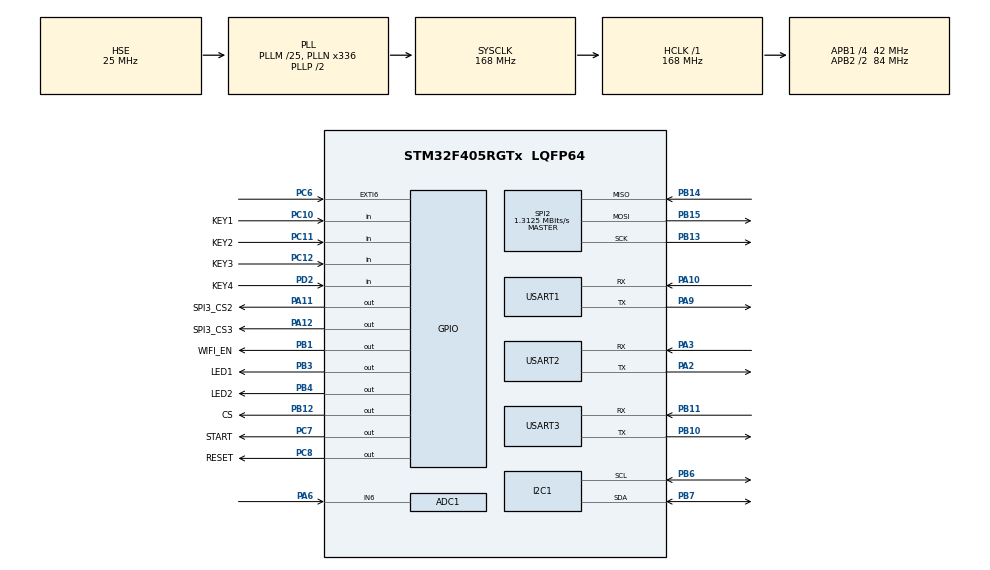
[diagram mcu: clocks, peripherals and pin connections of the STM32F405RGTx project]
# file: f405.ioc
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ADC1.Channel-0\#ChannelRegularConversion=ADC_CHANNEL_6
ADC1.NbrOfConversionFlag=1
ADC1.Rank-0\#ChannelRegularConversion=1
ADC1.SamplingTime-0\#ChannelRegularConversion=ADC_SAMPLETIME_3CYCLES
ADC1.master=1
FREERTOS.Tasks01=defaultTask,0,128,StartDefaultTask,Default,NULL,Dynamic,NULL,NULL;wifi,0,1024,wifiTask,Default,NULL,Dynamic,NULL,NULL;ads1299,3,1024,ads1299Task,Default,NULL,Dynamic,NULL,NULL;processTask,-3,1024,processDataTask,Default,NULL,Dynamic,NULL,NULL;led,-3,128,ledTask,Default,NULL,Dynamic,NULL,NULL
Mcu.Family=STM32F4
Mcu.Name=STM32F405RGTx
Mcu.Package=LQFP64
NVIC.EXTI9_5_IRQn=true\:5\:0\:false\:false\:true\:true\:true\:true\:true
NVIC.PriorityGroup=NVIC_PRIORITYGROUP_4
NVIC.TIM8_TRG_COM_TIM14_IRQn=true\:15\:0\:false\:false\:true\:false\:false\:true\:true
NVIC.TimeBase=TIM8_TRG_COM_TIM14_IRQn
NVIC.TimeBaseIP=TIM14
NVIC.USART3_IRQn=true\:5\:0\:false\:false\:true\:true\:true\:true\:true
PA10.Mode=Asynchronous
PA10.Signal=USART1_RX
PA11.GPIO_Label=SPI3_CS2
PA11.Signal=GPIO_Output
PA12.GPIO_Label=SPI3_CS3
PA12.Signal=GPIO_Output
PA13.Mode=Serial_Wire
PA13.Signal=SYS_JTMS-SWDIO
PA14.Mode=Serial_Wire
PA14.Signal=SYS_JTCK-SWCLK
PA2.Mode=Asynchronous
PA2.Signal=USART2_TX
PA3.Mode=Asynchronous
PA3.Signal=USART2_RX
PA6.Signal=ADCx_IN6
PA9.Mode=Asynchronous
PA9.Signal=USART1_TX
PB1.GPIO_Label=WIFI_EN
PB1.PinState=GPIO_PIN_SET
PB1.Signal=GPIO_Output
PB10.Mode=Asynchronous
PB10.Signal=USART3_TX
PB11.Mode=Asynchronous
PB11.Signal=USART3_RX
PB12.GPIO_Label=CS
PB12.Signal=GPIO_Output
PB13.Mode=Full_Duplex_Master
PB13.Signal=SPI2_SCK
PB14.Mode=Full_Duplex_Master
PB14.Signal=SPI2_MISO
PB15.Mode=Full_Duplex_Master
PB15.Signal=SPI2_MOSI
PB3.GPIO_Label=LED1
PB3.Signal=GPIO_Output
PB4.GPIO_Label=LED2
PB4.PinState=GPIO_PIN_SET
PB4.Signal=GPIO_Output
PB6.Mode=I2C
PB6.Signal=I2C1_SCL
PB7.Mode=I2C
PB7.Signal=I2C1_SDA
PC10.GPIO_Label=KEY1
PC10.GPIO_PuPd=GPIO_NOPULL
PC10.Signal=GPIO_Input
PC11.GPIO_Label=KEY2
PC11.Signal=GPIO_Input
PC12.GPIO_Label=KEY3
PC12.Signal=GPIO_Input
PC6.GPIO_ModeDefaultEXTI=GPIO_MODE_IT_FALLING
PC6.Signal=GPXTI6
PC7.GPIO_Label=START
PC7.Signal=GPIO_Output
PC8.GPIO_Label=RESET
PC8.Signal=GPIO_Output
PD2.GPIO_Label=KEY4
PD2.Signal=GPIO_Input
PH0-OSC_IN.Mode=HSE-External-Oscillator
PH0-OSC_IN.Signal=RCC_OSC_IN
PH1-OSC_OUT.Mode=HSE-External-Oscillator
PH1-OSC_OUT.Signal=RCC_OSC_OUT
ProjectManager.HeapSize=0x400
ProjectManager.StackSize=0x400
ProjectManager.TargetToolchain=MDK-ARM V5.32
RCC.48MHZClocksFreq_Value=84000000
RCC.AHBFreq_Value=168000000
RCC.APB1CLKDivider=RCC_HCLK_DIV4
RCC.APB1Freq_Value=42000000
RCC.APB1TimFreq_Value=84000000
RCC.APB2CLKDivider=RCC_HCLK_DIV2
RCC.APB2Freq_Value=84000000
RCC.APB2TimFreq_Value=168000000
RCC.CortexFreq_Value=168000000
RCC.HCLKFreq_Value=168000000
RCC.HSE_VALUE=25000000
RCC.HSI_VALUE=16000000
RCC.LSE_VALUE=32768
RCC.PLLM=25
RCC.PLLN=336
RCC.PLLSourceVirtual=RCC_PLLSOURCE_HSE
RCC.SYSCLKFreq_VALUE=168000000
RCC.SYSCLKSource=RCC_SYSCLKSOURCE_PLLCLK
RCC.VCOOutputFreq_Value=336000000
SH.ADCx_IN6.0=ADC1_IN6,IN6
SPI2.BaudRatePrescaler=SPI_BAUDRATEPRESCALER_32
SPI2.CLKPhase=SPI_PHASE_2EDGE
SPI2.CalculateBaudRate=1.3125 MBits/s
SPI2.Direction=SPI_DIRECTION_2LINES
SPI2.Mode=SPI_MODE_MASTER
SPI2.VirtualType=VM_MASTER
USART1.VirtualMode=VM_ASYNC
USART2.VirtualMode=VM_ASYNC
USART3.VirtualMode=VM_ASYNC
VP_FREERTOS_VS_CMSIS_V1.Mode=CMSIS_V1
VP_SYS_VS_tim14.Mode=TIM14
board=custom

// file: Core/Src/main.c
/* USER CODE BEGIN Header */
/**
  ******************************************************************************
  * @file           : main.c
  * @brief          : Main program body
  ******************************************************************************
  * @attention
  *
  * Copyright (c) 2025 STMicroelectronics.
  * All rights reserved.
  *
  * This software is licensed under terms that can be found in the LICENSE file
  * in the root directory of this software component.
  * If no LICENSE file comes with this software, it is provided AS-IS.
  *
  ******************************************************************************
  */
/* USER CODE END Header */
#include "main.h"
#include "cmsis_os.h"
#include "adc.h"
#include "i2c.h"
#include "spi.h"
#include "usart.h"
#include "gpio.h"

void SystemClock_Config(void);
void MX_FREERTOS_Init(void);

/* USER CODE BEGIN 0 */
void DWT_Delay_Init(void) {
    CoreDebug->DEMCR |= CoreDebug_DEMCR_TRCENA_Msk;
    DWT->CTRL |= DWT_CTRL_CYCCNTENA_Msk;
}

/* USER CODE END 0 */

int main(void)
{

  /* MCU Configuration--------------------------------------------------------*/

  /* Reset of all peripherals, Initializes the Flash interface and the Systick. */
  HAL_Init();

  /* Configure the system clock */
  SystemClock_Config();

  /* USER CODE BEGIN SysInit */
	DWT_Delay_Init();
  /* USER CODE END SysInit */

  /* Initialize all configured peripherals */
  MX_GPIO_Init();
  MX_ADC1_Init();
  MX_I2C1_Init();
  MX_USART1_UART_Init();
  MX_USART3_UART_Init();
  MX_USART2_UART_Init();
  MX_SPI2_Init();

  /* Call init function for freertos objects (in cmsis_os2.c) */
  MX_FREERTOS_Init();

  /* Start scheduler */
  osKernelStart();

  /* We should never get here as control is now taken by the scheduler */

  /* Infinite loop */
  while (1)
  {

  }
}

void SystemClock_Config(void)
{
  RCC_OscInitTypeDef RCC_OscInitStruct = {0};
  RCC_ClkInitTypeDef RCC_ClkInitStruct = {0};

  /** Configure the main internal regulator output voltage
  */
  __HAL_RCC_PWR_CLK_ENABLE();
  __HAL_PWR_VOLTAGESCALING_CONFIG(PWR_REGULATOR_VOLTAGE_SCALE1);

  /** Initializes the RCC Oscillators according to the specified parameters
  * in the RCC_OscInitTypeDef structure.
  */
  RCC_OscInitStruct.OscillatorType = RCC_OSCILLATORTYPE_HSE;
  RCC_OscInitStruct.HSEState = RCC_HSE_ON;
  RCC_OscInitStruct.PLL.PLLState = RCC_PLL_ON;
  RCC_OscInitStruct.PLL.PLLSource = RCC_PLLSOURCE_HSE;
  RCC_OscInitStruct.PLL.PLLM = 25;
  RCC_OscInitStruct.PLL.PLLN = 336;
  RCC_OscInitStruct.PLL.PLLP = RCC_PLLP_DIV2;
  RCC_OscInitStruct.PLL.PLLQ = 4;
  if (HAL_RCC_OscConfig(&RCC_OscInitStruct) != HAL_OK)
  {
    Error_Handler();
  }

  /** Initializes the CPU, AHB and APB buses clocks
  */
  RCC_ClkInitStruct.ClockType = RCC_CLOCKTYPE_HCLK|RCC_CLOCKTYPE_SYSCLK
                              |RCC_CLOCKTYPE_PCLK1|RCC_CLOCKTYPE_PCLK2;
  RCC_ClkInitStruct.SYSCLKSource = RCC_SYSCLKSOURCE_PLLCLK;
  RCC_ClkInitStruct.AHBCLKDivider = RCC_SYSCLK_DIV1;
  RCC_ClkInitStruct.APB1CLKDivider = RCC_HCLK_DIV4;
  RCC_ClkInitStruct.APB2CLKDivider = RCC_HCLK_DIV2;

  if (HAL_RCC_ClockConfig(&RCC_ClkInitStruct, FLASH_LATENCY_5) != HAL_OK)
  {
    Error_Handler();
  }
}

/* USER CODE BEGIN 4 */

void DWT_Delay_us(volatile uint32_t microseconds) {
    uint32_t clk_cycle_start = DWT->CYCCNT;
    microseconds *= (SystemCoreClock / 1000000);
    while ((DWT->CYCCNT - clk_cycle_start) < microseconds);
}

/* USER CODE END 4 */

void HAL_TIM_PeriodElapsedCallback(TIM_HandleTypeDef *htim)
{
  if (htim->Instance == TIM14)
  {
    HAL_IncTick();
  }
}

void Error_Handler(void)
{
  __disable_irq();
  while (1)
  {
  }
}

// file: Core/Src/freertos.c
/* USER CODE BEGIN Header */
/**
  ******************************************************************************
  * File Name          : freertos.c
  * Description        : Code for freertos applications
  ******************************************************************************
  * @attention
  *
  * Copyright (c) 2025 STMicroelectronics.
  * All rights reserved.
  *
  * This software is licensed under terms that can be found in the LICENSE file
  * in the root directory of this software component.
  * If no LICENSE file comes with this software, it is provided AS-IS.
  *
  ******************************************************************************
  */
/* USER CODE END Header */

#include "FreeRTOS.h"
#include "task.h"
#include "main.h"
#include "cmsis_os.h"

/* USER CODE BEGIN Includes */
#include "stdio.h"
#include "ads1299.h"
#include "string.h"
#include "stdbool.h"
#include "wifi.h"
/* USER CODE END Includes */

/* USER CODE BEGIN PD */
// Vref is external ±2.5V
#define V_REF_SPAN 5.0f      // VREFP - VREFN = 2.5 - (-2.5) = 5.0V
#define GAIN 24.0f           // From CHnSET = 0x65
#define LSB_UV ( (V_REF_SPAN / GAIN / 8388607.0f) * 1000000.0f ) / 2

// Vref is internal 4.5V
//#define V_REF_SPAN 4.5f
//#define GAIN 24.0f           // From CHnSET = 0x65
//#define LSB_UV ( (V_REF_SPAN / GAIN / 8388607.0f) * 1000000.0f ) / 2

#define BATCH_SIZE 10 // 每积累10个数据点(帧)发送一次
#define FRAME_SIZE 27

/* USER CODE END PD */

/* USER CODE BEGIN Variables */
osMailQId ads1299DataQueueHandle;
osSemaphoreId ads1299Semaphore;
osSemaphoreId networkReadySemaphore;

uint8_t g_tcp_con_id = 0;
bool g_is_transparent_mode = false;

/* USER CODE END Variables */
osThreadId defaultTaskHandle;
osThreadId wifiHandle;
osThreadId ads1299Handle;
osThreadId processTaskHandle;
osThreadId ledHandle;

void StartDefaultTask(void const * argument);
void wifiTask(void const * argument);
void ads1299Task(void const * argument);
void processDataTask(void const * argument);
void ledTask(void const * argument);

void MX_FREERTOS_Init(void); /* (MISRA C 2004 rule 8.1) */

/* GetIdleTaskMemory prototype (linked to static allocation support) */
void vApplicationGetIdleTaskMemory( StaticTask_t **ppxIdleTaskTCBBuffer, StackType_t **ppxIdleTaskStackBuffer, uint32_t *pulIdleTaskStackSize );

/* USER CODE BEGIN GET_IDLE_TASK_MEMORY */

void vApplicationGetIdleTaskMemory( StaticTask_t **ppxIdleTaskTCBBuffer, StackType_t **ppxIdleTaskStackBuffer, uint32_t *pulIdleTaskStackSize )
{
	static StaticTask_t xIdleTaskTCBBuffer;
	static StackType_t xIdleStack[configMINIMAL_STACK_SIZE];
  *ppxIdleTaskTCBBuffer = &xIdleTaskTCBBuffer;
  *ppxIdleTaskStackBuffer = &xIdleStack[0];
  *pulIdleTaskStackSize = configMINIMAL_STACK_SIZE;
  /* place for user code */
}
/* USER CODE END GET_IDLE_TASK_MEMORY */

void MX_FREERTOS_Init(void) {

  /* USER CODE BEGIN RTOS_SEMAPHORES */

	osSemaphoreDef(DataReadySem);
  ads1299Semaphore = osSemaphoreCreate(osSemaphore(DataReadySem), 1);
	osSemaphoreWait(ads1299Semaphore, 0);

  /* add semaphores, ... */
  /* USER CODE END RTOS_SEMAPHORES */

    osSemaphoreDef(NetworkReadySem);
    networkReadySemaphore = osSemaphoreCreate(osSemaphore(NetworkReadySem), 1);
    osSemaphoreWait(networkReadySemaphore, 0);

  /* USER CODE BEGIN RTOS_QUEUES */
  /* add queues, ... */

	// Use osMailQDef to define a mail queue
	osMailQDef(ads1299DataQueue, 32, ADS1299_Data_t);
	// Use osMailCreate to create the mail queue and get its handle
	ads1299DataQueueHandle = osMailCreate(osMailQ(ads1299DataQueue), NULL);
  /* USER CODE END RTOS_QUEUES */

  /* Create the thread(s) */
  /* definition and creation of defaultTask */
  osThreadDef(defaultTask, StartDefaultTask, osPriorityNormal, 0, 128);
  defaultTaskHandle = osThreadCreate(osThread(defaultTask), NULL);

  /* definition and creation of wifi */
  osThreadDef(wifi, wifiTask, osPriorityNormal, 0, 1024);
  wifiHandle = osThreadCreate(osThread(wifi), NULL);

  /* definition and creation of ads1299 */
  osThreadDef(ads1299, ads1299Task, osPriorityHigh, 0, 1024);
  ads1299Handle = osThreadCreate(osThread(ads1299), NULL);

  /* definition and creation of processTask */
  osThreadDef(processTask, processDataTask, osPriorityNormal, 0, 1024);
  processTaskHandle = osThreadCreate(osThread(processTask), NULL);

  /* definition and creation of led */
  osThreadDef(led, ledTask, osPriorityIdle, 0, 128);
  ledHandle = osThreadCreate(osThread(led), NULL);

}

void StartDefaultTask(void const * argument)
{
  for(;;)
  {
    osDelay(1);
  }
}

void wifiTask(void const * argument)
{
  /* USER CODE BEGIN wifiTask */
    osDelay(1000);

    // 1. 初始化WiFi并连接到AP
    while (Wifi_Init() != true)
    {
        printf("WiFi Initialization failed, retrying...\r\n");
        osDelay(5000);
    }
    printf("WiFi AP connected.\r\n");

    // 2. 连接到TCP服务器
    while(Wifi_Connect_TCP_Server(SERVER_IP, SERVER_PORT, &g_tcp_con_id) != true)
    {
        printf("TCP Connection failed, retrying...\r\n");
        osDelay(5000);
    }
    printf("TCP Server connected.\r\n");

    // 3. 进入透传模式 (推荐)
    if (Wifi_Enter_Transparent_Mode(g_tcp_con_id)) {
        g_is_transparent_mode = true;
    }

    if (g_is_transparent_mode) {
        printf("Network is ready. Releasing semaphore.\r\n");
        // 释放网络就绪信号量，通知ads1299Task可以开始工作了
        osSemaphoreRelease(networkReadySemaphore);
    }

    // 任务完成使命，挂起
    vTaskSuspend(NULL);
  /* USER CODE END wifiTask */
}

void ads1299Task(void const * argument)
{
  /* USER CODE BEGIN ads1299Task */

    adsHandle.hspi = &hspi2;
    adsHandle.dataReadySemaphore = ads1299Semaphore;

		// wait for TCP connection
	  osSemaphoreWait(networkReadySemaphore, osWaitForever);
    printf("ADS1299 Task: Network is ready. Initializing ADS1299...\r\n");

    osDelay(1000);

    ADS1299_Init(&adsHandle);

		/* Infinite loop */
		for(;;)
		{
				// wait for DRDY interrupt
				osSemaphoreWait(ads1299Semaphore, osWaitForever);
				// allocate memory for mail
        ADS1299_Data_t *mail = (ADS1299_Data_t*) osMailAlloc(ads1299DataQueueHandle, osWaitForever);

        if (mail != NULL) {
						// read data from SPI, and put data in mail
            ADS1299_ReadData(&adsHandle, mail);
						// put mail in queue
            osMailPut(ads1299DataQueueHandle, mail);

        }
		}
		/* USER CODE END ads1299Task */
}

void processDataTask(void const * argument){
  /* USER CODE BEGIN processDataTask */
		static uint32_t count = 0;
    printf("Process Data Task: Ready to receive and transmit data.\r\n");

    uint8_t data_batch_buffer[FRAME_SIZE * BATCH_SIZE];
    uint16_t frame_count = 0;

//		typedef struct __attribute__((packed)) {
//    uint8_t header[2]; // 帧头, e.g., 0xA5, 0x5A
//    uint8_t status[3]; // ADS1299 状态字节
//    uint8_t ch_data[8][3]; // 8个通道的数据
//    uint8_t tail[2];   // 帧尾, e.g., 0x0D, 0x0A
//    } EEG_Frame_t;
//
//		EEG_Frame_t eeg_frame;
//    eeg_frame.header[0] = 0xA5;
//    eeg_frame.header[1] = 0x5A;
//    eeg_frame.tail[0] = 0x0D;
//    eeg_frame.tail[1] = 0x0A;

		/* Infinite loop */
    for(;;)
    {
        // 3. 从邮件队列等待并获取采集到的数据
        osEvent evt = osMailGet(ads1299DataQueueHandle, osWaitForever);

        if (evt.status == osEventMail) {
            ADS1299_Data_t *raw_data = (ADS1299_Data_t*)evt.value.p;
						memcpy(data_batch_buffer + (frame_count * FRAME_SIZE), (uint8_t*)raw_data, FRAME_SIZE);

						frame_count++;

						osMailFree(ads1299DataQueueHandle, raw_data);

						if (frame_count >= BATCH_SIZE)
            {
                // --- 触发一次批量发送 ---
                // 我们可以在数据包前后加上自定义的帧头帧尾，来标识一个大的数据批次
                uint8_t batch_header[] = {0xAA, 0xBB, 0xCC, 0xDD};

                // 1. 发送批次头
                Wifi_Send_Raw_Data(batch_header, sizeof(batch_header));

                // 2. 发送整个数据批次缓冲区
                Wifi_Send_Raw_Data(data_batch_buffer, BATCH_SIZE * FRAME_SIZE);

                // 3. (可选) 发送校验和或其他信息

                // 4. 重置帧计数器，为下一批次做准备
                frame_count = 0;

                // 打印一个心跳，表示一个大包已发送
                printf("Batch Sent.\r\n");
            }
         }

//            // 4. 将原始数据打包到我们的发送帧中
//            memcpy(eeg_frame.status, raw_data->status, 3);
//            memcpy(eeg_frame.ch_data, raw_data->channel_data, 24);

//            // 5. 通过WiFi发送完整的数据帧
//            // 我们之前已经进入了透传模式，所以直接发送裸数据
//            Wifi_Send_Raw_Data((uint8_t*)&eeg_frame, sizeof(EEG_Frame_t));

            // 6. 释放邮件内存块，这非常重要！
//            osMailFree(ads1299DataQueueHandle, raw_data);

    }
  /* USER CODE END processDataTask */

}
//void processDataTask(void const * argument)
//{
//  /* USER CODE BEGIN processDataTask */
//	static uint32_t count = 0;
//
//  /* Infinite loop */
//  for(;;)
//  {
//		    osEvent evt = osMailGet(ads1299DataQueueHandle, osWaitForever);
//        if (evt.status == osEventMail) {
//            ADS1299_Data_t *data = (ADS1299_Data_t*)evt.value.p;

//            if (count % 10 == 0) {
//                printf("ADS1299 Data:\r\n");
//                for (uint8_t i = 0; i < 8; i++) {
//                    int32_t raw = (int32_t)((data->channel_data[i][0] << 16) | (data->channel_data[i][1] << 8) | data->channel_data[i][2]);
//                    if (raw & 0x00800000) {
//                        raw |= 0xFF000000;
//                    }
//                    float voltage = raw * LSB_UV;
//										//float voltage = raw;
//                    printf("CH%d: %8.3f uV\r\n", i + 1, voltage);
//                }
//                printf("\r\n");
//            }
//            count++;

//            osMailFree(ads1299DataQueueHandle, data);
//        }
//  }
//  /* USER CODE END processDataTask */
//}

void ledTask(void const * argument)
{
  /* USER CODE BEGIN ledTask */
  /* Infinite loop */
  for(;;)
  {
		HAL_GPIO_TogglePin(LED1_GPIO_Port,LED1_Pin);
    osDelay(500);
  }
  /* USER CODE END ledTask */
}

/* USER CODE BEGIN Application */
void HAL_GPIO_EXTI_Callback(uint16_t GPIO_Pin)
{
    if (GPIO_Pin == ADS1299_DRDY_Pin) {
			HAL_GPIO_TogglePin(LED2_GPIO_Port,LED2_Pin);
			osSemaphoreRelease(ads1299Semaphore);
    }
}
/* USER CODE END Application */
